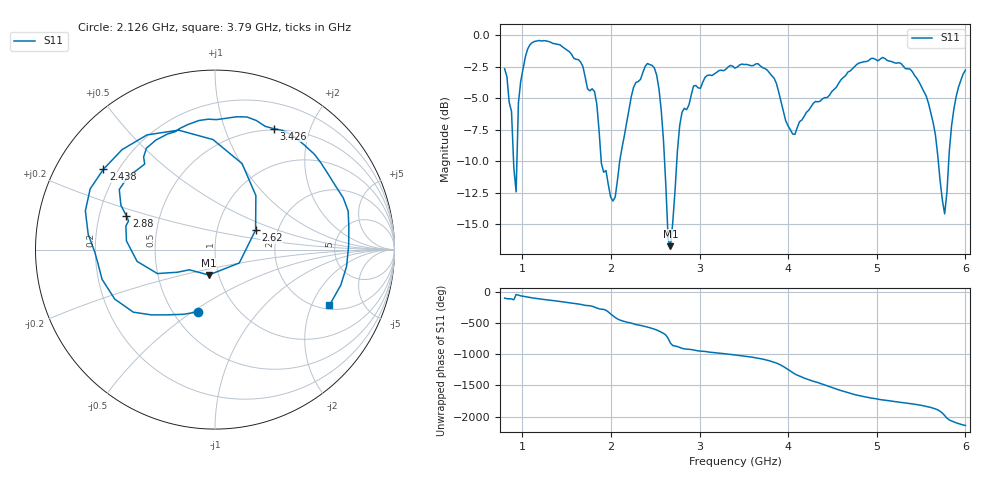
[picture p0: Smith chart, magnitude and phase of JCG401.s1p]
!Agilent Technologies,N5230A,MY46400442,A.07.50.57
!Agilent N5230A: A.07.50.57
!Date: Thursday, July 28, 2022 03:10:03
!Correction: S11(Full 1 Port(1))
!S1P File: Measurement: S11:
# Hz S  dB  R 50
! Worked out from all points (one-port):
!   201 points, 800 MHz to 6 GHz, reference 50 ohm
!   lowest |S11| = -16.7 dB at 2.672 GHz (marker M1), VSWR 1.34, Z = 44.9 - j13 ohm
!   |S11| at or under -10 dB: 1.89 GHz to 2.099 GHz (208.2 MHz wide, 10.4 % of centre); 2.605 GHz to 2.743 GHz (137.8 MHz wide, 5.15 % of centre); 5.694 GHz to 5.812 GHz (117.5 MHz wide, 2.04 % of centre)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
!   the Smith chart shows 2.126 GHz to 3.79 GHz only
!   S11 on the Smith chart (normalised r, x): 2.126 GHz: 0.66, -0.53; 2.438 GHz: 0.15, +0.32; 2.62 GHz: 1.53, +0.36; 2.88 GHz: 0.32, +0.17; 3.426 GHz: 0.48, +1.49; 3.79 GHz: 2.18, -2.72
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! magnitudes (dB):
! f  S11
! 800 MHz  -2.6
! 878 MHz  -6.0
! 930 MHz  -12.4
! 956 MHz  -5.3
! 1.06 GHz  -1.1
! 1.45 GHz  -0.9
! 1.814 GHz  -4.4
! 1.892 GHz  -10.2
! 1.996 GHz  -12.8
! 2.1 GHz  -9.9
! 2.126 GHz  -8.9
! 2.256 GHz  -4.1
! 2.438 GHz  -2.3
! 2.542 GHz  -4.3
! 2.62 GHz  -12.0
! 2.672 GHz  -16.7
! 2.75 GHz  -9.2
! 2.88 GHz  -5.5
! 3.4 GHz  -2.6
! 3.426 GHz  -2.5
! 3.79 GHz  -3.0
! 4.05 GHz  -7.8
! 4.7 GHz  -2.8
! 5.35 GHz  -2.6
! 5.584 GHz  -5.4
! 5.766 GHz  -14.2
! 5.87 GHz  -5.8
! 6 GHz  -2.8
